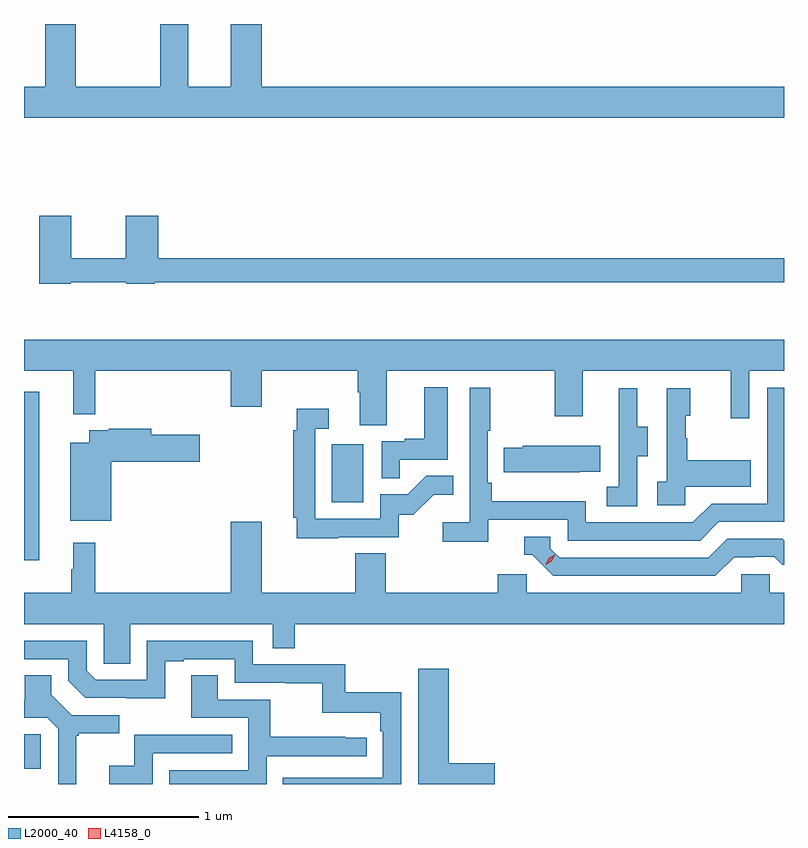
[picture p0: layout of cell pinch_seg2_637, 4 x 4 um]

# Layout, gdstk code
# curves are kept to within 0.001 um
import gdstk
lib = gdstk.Library(unit=1e-6, precision=1e-09)
def R(c, l, rs):  # rectangles x0, y0, x1, y1
    for r in rs: c.add(gdstk.rectangle(r[:2], r[2:], *l))
def P(c, l, *ps):  # polygons
    for p in ps: c.add(gdstk.Polygon(p, *l))
L2000_40 = (2000, 40)
L4158_0 = (4158, 0)

pinch_seg2_637 = lib.new_cell('pinch_seg2_637')
R(pinch_seg2_637, L2000_40, [(1075.009,596.259,1075.098,596.439), (1075.009,597.356,1075.09,598.243), (1076.63,597.66,1076.794,597.967)])
P(pinch_seg2_637, L2000_40, [(1079.009,599.848),(1076.26,599.848),(1076.26,600.178),(1076.096,600.178),(1076.096,599.848),(1075.873,599.848),(1075.873,600.178),(1075.726,600.178),(1075.726,599.848),(1075.281,599.848),(1075.281,600.178),(1075.121,600.178),(1075.121,599.848),(1075.009,599.848),(1075.009,599.684),(1079.009,599.684)],
  [(1075.254,598.818),(1075.548,598.818),(1075.548,598.81),(1075.698,598.81),(1075.698,598.818),(1079.009,598.818),(1079.009,598.946),(1075.715,598.946),(1075.715,599.17),(1075.544,599.17),(1075.544,598.946),(1075.258,598.946),(1075.258,599.17),(1075.088,599.17),(1075.088,598.81),(1075.254,598.81)],
  [(1076.917,598.352),(1077.802,598.352),(1077.802,598.113),(1077.949,598.113),(1077.949,598.352),(1078.73,598.352),(1078.73,598.104),(1078.827,598.104),(1078.827,598.352),(1079.009,598.352),(1079.009,598.516),(1075.009,598.516),(1075.009,598.352),(1075.268,598.352),(1075.268,598.124),(1075.385,598.124),(1075.385,598.352),(1076.096,598.352),(1076.096,598.164),(1076.26,598.164),(1076.26,598.352),(1076.765,598.352),(1076.765,598.24),(1076.777,598.24),(1076.777,598.066),(1076.917,598.066)],
  [(1076.987,597.885),(1077.238,597.885),(1077.238,598.267),(1077.116,598.267),(1077.116,597.994),(1077.013,597.994),(1077.013,597.981),(1076.892,597.981),(1076.892,597.787),(1076.987,597.787)],
  [(1077.452,597.57),(1077.87,597.57),(1077.87,597.459),(1078.567,597.459),(1078.666,597.558),(1079.009,597.558),(1079.009,598.263),(1078.92,598.263),(1078.92,597.654),(1078.629,597.654),(1078.53,597.555),(1077.966,597.555),(1077.966,597.667),(1077.47,597.667),(1077.47,597.763),(1077.45,597.763),(1077.45,598.036),(1077.463,598.036),(1077.463,598.264),(1077.354,598.264),(1077.354,597.556),(1077.213,597.556),(1077.213,597.454),(1077.452,597.454)],
  [(1078.488,597.743),(1078.835,597.743),(1078.835,597.883),(1078.501,597.883),(1078.501,597.998),(1078.491,597.998),(1078.491,598.116),(1078.516,598.116),(1078.516,598.261),(1078.392,598.261),(1078.392,597.77),(1078.341,597.77),(1078.341,597.645),(1078.488,597.645)],
  [(1078.236,597.904),(1078.291,597.904),(1078.291,598.059),(1078.237,598.059),(1078.237,598.261),(1078.139,598.261),(1078.139,598.047),(1078.14,598.047),(1078.14,597.743),(1078.077,597.743),(1078.077,597.64),(1078.236,597.64)],
  [(1076.663,597.477),(1076.982,597.477),(1076.982,597.594),(1077.058,597.594),(1077.165,597.701),(1077.269,597.701),(1077.269,597.8),(1077.126,597.8),(1077.028,597.702),(1076.883,597.702),(1076.883,597.573),(1076.541,597.573),(1076.541,598.047),(1076.614,598.047),(1076.614,598.153),(1076.444,598.153),(1076.444,598.04),(1076.425,598.04),(1076.425,597.58),(1076.444,597.58),(1076.444,597.472),(1076.663,597.472)],
  [(1075.468,597.875),(1075.933,597.875),(1075.933,598.017),(1075.678,598.017),(1075.678,598.047),(1075.456,598.047),(1075.456,598.039),(1075.352,598.039),(1075.352,597.973),(1075.253,597.973),(1075.253,597.563),(1075.468,597.563)],
  [(1077.935,597.821),(1078.043,597.821),(1078.043,597.958),(1077.633,597.958),(1077.633,597.948),(1077.535,597.948),(1077.535,597.818),(1077.935,597.818)],
  [(1075.567,597.02),(1076.319,597.02),(1076.319,596.893),(1076.435,596.893),(1076.435,597.02),(1079.009,597.02),(1079.009,597.184),(1078.935,597.184),(1078.935,597.282),(1078.785,597.282),(1078.785,597.184),(1077.654,597.184),(1077.654,597.282),(1077.503,597.282),(1077.503,597.184),(1076.912,597.184),(1076.912,597.392),(1076.752,597.392),(1076.752,597.184),(1076.26,597.184),(1076.26,597.559),(1076.096,597.559),(1076.096,597.184),(1075.385,597.184),(1075.385,597.448),(1075.268,597.448),(1075.268,597.308),(1075.257,597.308),(1075.257,597.184),(1075.009,597.184),(1075.009,597.02),(1075.428,597.02),(1075.428,596.812),(1075.567,596.812)],
  [(1078.747,597.372),(1078.854,597.372),(1078.854,597.375),(1078.957,597.375),(1078.999,597.333),(1079.009,597.333),(1079.009,597.458),(1078.999,597.468),(1078.71,597.468),(1078.611,597.369),(1077.828,597.369),(1077.78,597.417),(1077.78,597.48),(1077.641,597.48),(1077.641,597.384),(1077.684,597.384),(1077.795,597.273),(1078.648,597.273)],
  [(1076.994,596.662),(1076.701,596.662),(1076.701,596.808),(1076.214,596.808),(1076.214,596.931),(1075.656,596.931),(1075.656,596.727),(1075.386,596.727),(1075.338,596.775),(1075.338,596.931),(1075.009,596.931),(1075.009,596.835),(1075.242,596.835),(1075.242,596.721),(1075.332,596.631),(1075.753,596.63),(1075.753,596.823),(1075.849,596.823),(1075.849,596.835),(1076.118,596.835),(1076.118,596.712),(1076.383,596.712),(1076.383,596.707),(1076.58,596.707),(1076.58,596.552),(1076.885,596.552),(1076.885,596.456),(1076.898,596.456),(1076.898,596.211),(1076.371,596.212),(1076.371,596.178),(1076.994,596.178)],
  [(1077.487,596.288),(1077.244,596.288),(1077.244,596.785),(1077.083,596.785),(1077.083,596.178),(1077.487,596.178)],
  [(1075.285,596.433),(1075.297,596.433),(1075.297,596.444),(1075.51,596.444),(1075.51,596.541),(1075.26,596.541),(1075.153,596.648),(1075.153,596.75),(1075.013,596.75),(1075.013,596.618),(1075.009,596.618),(1075.009,596.526),(1075.131,596.526),(1075.188,596.469),(1075.188,596.178),(1075.285,596.178)],
  [(1076.286,596.325),(1076.812,596.325),(1076.812,596.421),(1076.699,596.421),(1076.699,596.426),(1076.306,596.426),(1076.306,596.622),(1076.029,596.622),(1076.029,596.75),(1075.889,596.75),(1075.889,596.526),(1076.19,596.526),(1076.19,596.25),(1075.774,596.25),(1075.774,596.178),(1076.286,596.178)],
  [(1075.686,596.34),(1076.105,596.34),(1076.105,596.436),(1075.59,596.436),(1075.59,596.275),(1075.457,596.275),(1075.457,596.178),(1075.686,596.178)])
P(pinch_seg2_637, L4158_0, [(1077.756,597.332),(1077.756,597.332),(1077.772,597.365),(1077.803,597.384),(1077.803,597.384),(1077.803,597.384),(1077.787,597.351),(1077.756,597.332)])

lib.write_gds('pinch_seg2_637.gds')
